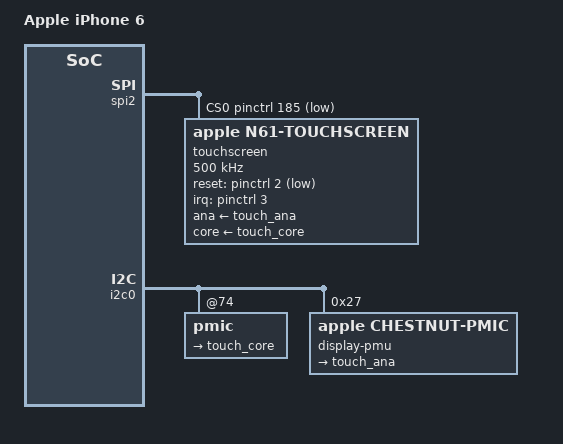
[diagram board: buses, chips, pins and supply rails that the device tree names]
// SPDX-License-Identifier: GPL-2.0+ OR MIT
/*
 * Apple iPhone 6, N61, iPhone7,2 (A1549/A1586/A1589)
 * Copyright (c) 2022, Konrad Dybcio <konradybcio@kernel.org>
 */

/dts-v1/;

#include "t7000-6.dtsi"

/ {
	compatible = "apple,n61", "apple,t7000", "apple,arm-platform";
	model = "Apple iPhone 6";

	aliases {
		spi2 = &spi2;
		touchscreen0 = &touchscreen;
	};
};

&spi2 {
	cs-gpios = <&pinctrl 185 GPIO_ACTIVE_LOW>;
	status = "okay";

	touchscreen: touchscreen@0 {
		compatible = "apple,n61-touchscreen";
		reg = <0>;
		spi-max-frequency = <500000>;
		interrupts-extended = <&pinctrl 3 IRQ_TYPE_EDGE_FALLING>;
		reset-gpios = <&pinctrl 2 GPIO_ACTIVE_LOW>;
		ana-supply = <&touch_ana>;
		core-supply = <&touch_core>;
		clocks = <&touchclk>;
		firmware-name = "apple/n61-fwstart.z2fw";
		touchscreen-size-x = <750>;
		touchscreen-size-y = <1334>;
		status = "okay";
	};
};

&touchclk {
	status = "okay";
};

&i2c0 {
	pmic@74 {
		touch_core: regulator-touch-core {
			compatible = "apple,d2186-touch-core-regulator";
			regulator-name = "n61-touch-core";
		};
	};

	display-pmu@27 {
		compatible = "apple,chestnut-pmic";
		reg = <0x27>;

		touch_ana: regulator-touch-hv {
			compatible = "apple,chestnut-touch-hv-regulator";
			regulator-name = "n61-touch-ana";
		};
	};
};
